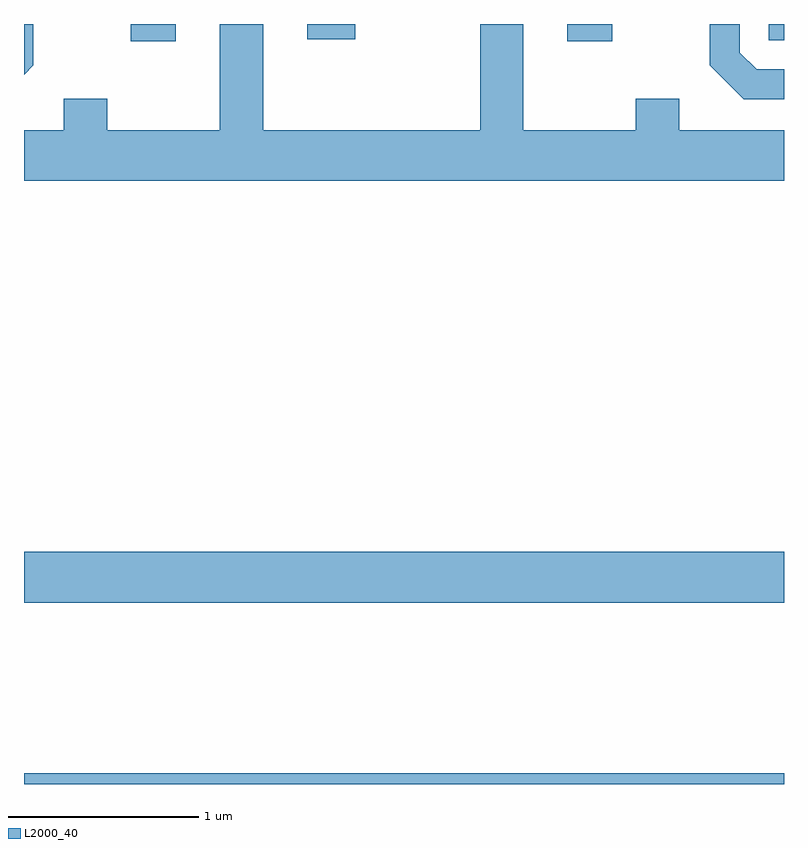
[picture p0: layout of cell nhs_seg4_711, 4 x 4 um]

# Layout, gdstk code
import gdstk
lib = gdstk.Library(unit=1e-6, precision=1e-09)
def R(c, l, rs):  # rectangles x0, y0, x1, y1
    for r in rs: c.add(gdstk.rectangle(r[:2], r[2:], *l))
def P(c, l, *ps):  # polygons
    for p in ps: c.add(gdstk.Polygon(p, *l))
L2000_40 = (2000, 40)

nhs_seg4_711 = lib.new_cell('nhs_seg4_711')
R(nhs_seg4_711, L2000_40, [(205.611,1315.982,209.611,1316.039), (205.611,1316.936,209.611,1317.204), (206.173,1319.891,206.409,1319.982), (208.471,1319.891,208.708,1319.982), (209.531,1319.896,209.611,1319.982), (207.101,1319.901,207.354,1319.982)])
P(nhs_seg4_711, L2000_40, [(209.611,1319.424),(209.059,1319.424),(209.059,1319.589),(208.831,1319.589),(208.831,1319.424),(208.239,1319.424),(208.239,1319.982),(208.011,1319.982),(208.011,1319.424),(206.869,1319.424),(206.869,1319.982),(206.641,1319.982),(206.641,1319.424),(206.049,1319.424),(206.049,1319.589),(205.821,1319.589),(205.821,1319.424),(205.611,1319.424),(205.611,1319.156),(209.611,1319.156)],
  [(205.659,1319.764),(205.659,1319.982),(205.611,1319.982),(205.611,1319.716)],
  [(209.611,1319.744),(209.467,1319.744),(209.379,1319.832),(209.379,1319.982),(209.221,1319.982),(209.221,1319.764),(209.399,1319.586),(209.611,1319.586)])

lib.write_gds('nhs_seg4_711.gds')
